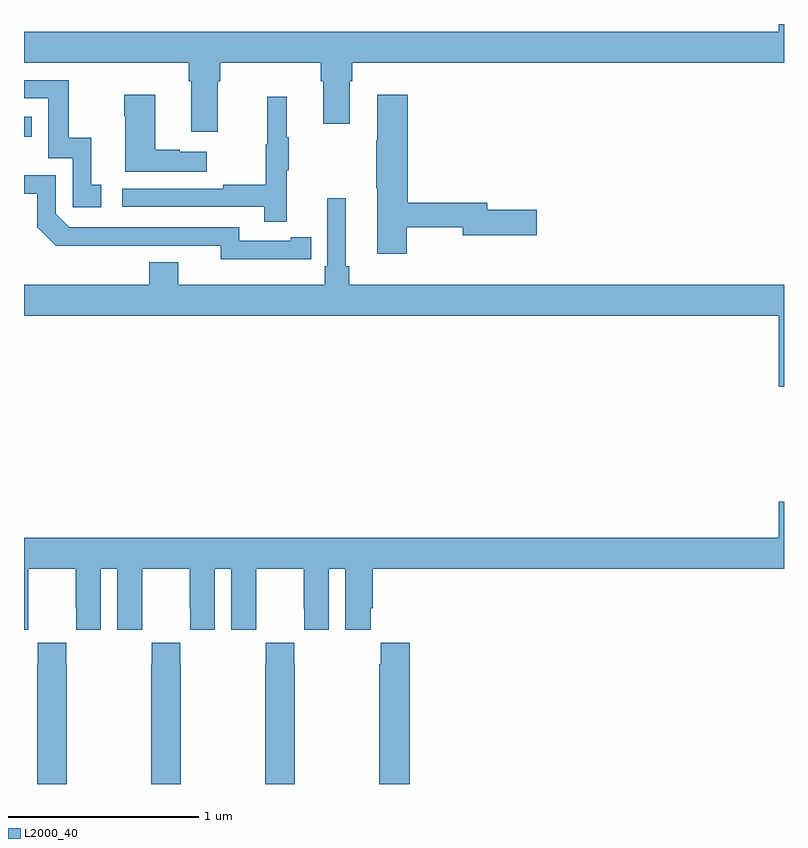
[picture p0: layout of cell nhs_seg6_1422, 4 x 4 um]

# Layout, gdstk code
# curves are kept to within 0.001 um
import gdstk
lib = gdstk.Library(unit=1e-6, precision=1e-09)
def R(c, l, rs):  # rectangles x0, y0, x1, y1
    for r in rs: c.add(gdstk.rectangle(r[:2], r[2:], *l))
def P(c, l, *ps):  # polygons
    for p in ps: c.add(gdstk.Polygon(p, *l))
L2000_40 = (2000, 40)

nhs_seg6_1422 = lib.new_cell('nhs_seg6_1422')
R(nhs_seg6_1422, L2000_40, [(197,986.907,197.042,987.013)])
P(nhs_seg6_1422, L2000_40, [(198.019,987.2),(198.032,987.2),(198.032,987.296),(198.563,987.296),(198.563,987.2),(198.575,987.2),(198.575,986.976),(198.715,986.976),(198.715,987.2),(198.728,987.2),(198.728,987.296),(201,987.296),(201,987.5),(200.972,987.5),(200.972,987.46),(197,987.46),(197,987.296),(197.867,987.296),(197.867,987.2),(197.879,987.2),(197.879,986.934),(198.019,986.934)],
  [(197.407,986.655),(197.354,986.655),(197.354,986.902),(197.236,986.902),(197.236,987.204),(197,987.204),(197,987.108),(197.127,987.108),(197.127,986.793),(197.256,986.793),(197.256,986.535),(197.407,986.535)],
  [(199.014,986.43),(199.31,986.43),(199.31,986.387),(199.699,986.387),(199.699,986.522),(199.438,986.522),(199.438,986.558),(199.019,986.558),(199.019,987.127),(198.86,987.127),(198.86,986.888),(198.853,986.888),(198.853,986.635),(198.86,986.635),(198.86,986.292),(199.014,986.292)],
  [(197.962,986.827),(197.819,986.827),(197.819,986.837),(197.692,986.837),(197.692,987.127),(197.527,987.127),(197.527,987.014),(197.534,987.014),(197.534,986.723),(197.962,986.723)],
  [(198.383,986.731),(198.394,986.731),(198.394,986.905),(198.383,986.905),(198.383,987.118),(198.28,987.118),(198.28,986.868),(198.273,986.868),(198.273,986.654),(198.049,986.654),(198.049,986.634),(197.517,986.634),(197.517,986.538),(198.265,986.538),(198.265,986.46),(198.383,986.46)],
  [(198.404,986.262),(198.512,986.262),(198.512,986.378),(198.404,986.378),(198.404,986.358),(198.132,986.358),(198.132,986.43),(197.238,986.43),(197.166,986.502),(197.166,986.703),(197,986.703),(197,986.607),(197.07,986.607),(197.07,986.43),(197.168,986.333),(198.036,986.334),(198.036,986.261)],
  [(201,986.128),(198.713,986.128),(198.713,986.224),(198.694,986.224),(198.694,986.584),(198.597,986.584),(198.597,986.224),(198.584,986.224),(198.584,986.128),(197.812,986.128),(197.812,986.245),(197.66,986.245),(197.66,986.128),(197,986.128),(197,985.964),(200.972,985.964),(200.972,985.59),(201,985.59)],
  [(197.022,984.424),(197.023,984.424),(197.023,984.632),(197.273,984.632),(197.273,984.424),(197.274,984.424),(197.274,984.312),(197.404,984.312),(197.404,984.632),(197.492,984.632),(197.492,984.312),(197.622,984.312),(197.622,984.424),(197.623,984.424),(197.623,984.632),(197.873,984.632),(197.873,984.424),(197.874,984.424),(197.874,984.312),(198.004,984.312),(198.004,984.632),(198.092,984.632),(198.092,984.312),(198.222,984.312),(198.222,984.424),(198.223,984.424),(198.223,984.632),(198.473,984.632),(198.473,984.424),(198.474,984.424),(198.474,984.312),(198.604,984.312),(198.604,984.632),(198.692,984.632),(198.692,984.312),(198.826,984.312),(198.826,984.424),(198.836,984.424),(198.836,984.632),(201,984.632),(201,984.985),(200.972,984.985),(200.972,984.796),(197,984.796),(197,984.312),(197.022,984.312)],
  [(198.426,984.131),(198.423,984.131),(198.423,984.244),(198.273,984.244),(198.273,984.131),(198.271,984.131),(198.271,983.5),(198.426,983.5)],
  [(197.826,984.131),(197.823,984.131),(197.823,984.244),(197.673,984.244),(197.673,984.131),(197.671,984.131),(197.671,983.5),(197.826,983.5)],
  [(197.226,984.131),(197.223,984.131),(197.223,984.244),(197.073,984.244),(197.073,984.131),(197.071,984.131),(197.071,983.5),(197.226,983.5)],
  [(199.031,984.244),(198.877,984.244),(198.877,984.131),(198.871,984.131),(198.871,983.5),(199.031,983.5)])

lib.write_gds('nhs_seg6_1422.gds')
